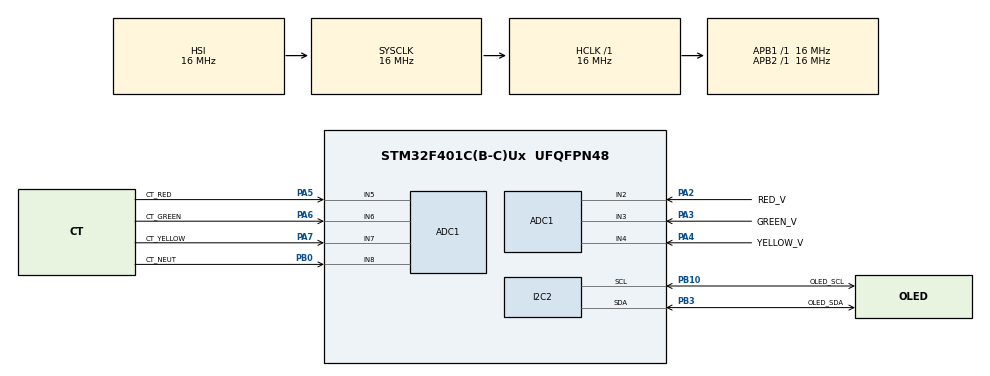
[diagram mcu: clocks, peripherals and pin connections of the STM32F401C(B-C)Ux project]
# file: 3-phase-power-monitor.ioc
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ADC1.Channel-0\#ChannelRegularConversion=ADC_CHANNEL_3
ADC1.ContinuousConvMode=ENABLE
ADC1.NbrOfConversionFlag=1
ADC1.Rank-0\#ChannelRegularConversion=1
ADC1.SamplingTime-0\#ChannelRegularConversion=ADC_SAMPLETIME_3CYCLES
ADC1.ScanConvMode=DISABLE
ADC1.master=1
I2C2.I2C_Mode=I2C_Fast
Mcu.Family=STM32F4
Mcu.Name=STM32F401C(B-C)Ux
Mcu.Package=UFQFPN48
NVIC.PriorityGroup=NVIC_PRIORITYGROUP_4
PA2.GPIO_Label=RED_V
PA2.Signal=ADCx_IN2
PA3.GPIO_Label=GREEN_V
PA3.Signal=ADCx_IN3
PA4.GPIO_Label=YELLOW_V
PA4.Signal=ADCx_IN4
PA5.GPIO_Label=CT_RED
PA5.Signal=ADCx_IN5
PA6.GPIO_Label=CT_GREEN
PA6.Signal=ADCx_IN6
PA7.GPIO_Label=CT_YELLOW
PA7.Signal=ADCx_IN7
PB0.GPIO_Label=CT_NEUT
PB0.Signal=ADCx_IN8
PB10.GPIO_Label=OLED_SCL
PB10.Mode=I2C
PB10.Signal=I2C2_SCL
PB3.GPIO_Label=OLED_SDA
PB3.Mode=I2C
PB3.Signal=I2C2_SDA
ProjectManager.HeapSize=0x200
ProjectManager.StackSize=0x400
ProjectManager.TargetToolchain=STM32CubeIDE
RCC.AHBFreq_Value=16000000
RCC.APB1Freq_Value=16000000
RCC.APB2Freq_Value=16000000
RCC.CortexFreq_Value=16000000
RCC.HSE_VALUE=25000000
RCC.HSI_VALUE=16000000
RCC.LSE_VALUE=32768
RCC.SYSCLKFreq_VALUE=16000000
RCC.VCOOutputFreq_Value=192000000
SH.ADCx_IN2.0=ADC1_IN2,IN2
SH.ADCx_IN3.0=ADC1_IN3,IN3
SH.ADCx_IN4.0=ADC1_IN4,IN4
SH.ADCx_IN5.0=ADC1_IN5,IN5
SH.ADCx_IN6.0=ADC1_IN6,IN6
SH.ADCx_IN7.0=ADC1_IN7,IN7
SH.ADCx_IN8.0=ADC1_IN8,IN8
board=custom

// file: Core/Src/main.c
/* USER CODE BEGIN Header */
/**
  ******************************************************************************
  * @file           : main.c
  * @brief          : Main program body
  ******************************************************************************
  * @attention
  *
  * Copyright (c) 2025 STMicroelectronics.
  * All rights reserved.
  *
  * This software is licensed under terms that can be found in the LICENSE file
  * in the root directory of this software component.
  * If no LICENSE file comes with this software, it is provided AS-IS.
  *
  ******************************************************************************
  */
/* USER CODE END Header */
#include "main.h"

/* USER CODE BEGIN Includes */
#include "ssd1306.h"
#include "math.h"

/* USER CODE END Includes */

ADC_HandleTypeDef hadc1;

I2C_HandleTypeDef hi2c2;

void SystemClock_Config(void);
static void MX_GPIO_Init(void);
static void MX_I2C2_Init(void);
static void MX_ADC1_Init(void);
/* USER CODE BEGIN PFP */

uint32_t readADC_Current(uint32_t CHANNEL);
uint32_t readADC_Voltage(uint32_t CHANNEL);

/* USER CODE END PFP */

/* USER CODE BEGIN 0 */

/**
 * Read current from an ADC channel
 */
uint32_t readADC_Current(uint32_t CHANNEL) {

	ADC_CH_Cfg.Channel = CHANNEL;
	HAL_ADC_ConfigChannel(&hadc1, &ADC_CH_Cfg);

	HAL_ADC_Start(&hadc1);
	HAL_ADC_PollForConversion(&hadc1, HAL_MAX_DELAY);
	return HAL_ADC_GetValue(&hadc1);
}

/**
 * Read voltage from an ADC channel
 */
uint32_t readADC_Voltage(uint32_t CHANNEL) {
	ADC_CH_Cfg.Channel = CHANNEL;
	HAL_ADC_ConfigChannel(&hadc1, &ADC_CH_Cfg);

	HAL_ADC_Start(&hadc1);
	HAL_ADC_PollForConversion(&hadc1, HAL_MAX_DELAY);
	return HAL_ADC_GetValue(&hadc1);
}

/* USER CODE END 0 */

int main(void)
{

  /* MCU Configuration--------------------------------------------------------*/

  /* Reset of all peripherals, Initializes the Flash interface and the Systick. */
  HAL_Init();

  /* Configure the system clock */
  SystemClock_Config();

  /* Initialize all configured peripherals */
  MX_GPIO_Init();
  MX_I2C2_Init();
  MX_ADC1_Init();

  /* USER CODE BEGIN 2 */

  ADC_CH_Cfg.Rank = ADC_REGULAR_RANK_1;
  ADC_CH_Cfg.samplingTime = ADC_SAMPLETIME_1CYCLE_5;

  // INITIALIZE OLED screen
  SSD1306_Init();
  SSD1306_GotoXY(0, 0);
  SSD1306_Puts("3-phase power meter", &Font_11x18, 1);
  SSD1306_UpdateScreen(); // update screen

  /* USER CODE END 2 */

  /* Infinite loop */
  while (1)
  {

    /* USER CODE BEGIN 3 */

	  // read current for each phase
	  char red_curr_buff[7];
	  char green_curr_buff[7];
	  char yellow_curr_buff[7];
	  char neutral_curr_buff[7];

	  uint32_t red_curr = readADC_Current(ADC_CHANNEL_5);
	  uint32_t green_curr = readADC_Current(ADC_CHANNEL_6);
	  uint32_t yellow_curr = readADC_Current(ADC_CHANNEL_7);
	  uint32_t neutral_curr = readADC_Current(ADC_CHANNEL_8);

	  // copy into buffer
	  sprintf(red_curr_buff, "%d", red_curr);
	  sprintf(green_curr_buff, "%d", green_curr);
	  sprintf(yellow_curr_buff, "%d", yellow_curr);
	  sprintf(neutral_curr_buff, "%d", neutral_curr);

	  // read line voltage
	  char red_voltage_buff[7];
	  char green_voltage_buff[7];
	  char yellow_voltage_buff[7];

	  uint32_t red_voltage = readADC_Voltage(ADC_CHANNEL_2);
	  uint32_t green_voltage = readADC_Voltage(ADC_CHANNEL_3);
	  uint32_t yellow_voltage = readADC_Voltage(ADC_CHANNEL_4);

	  // copy into buffer
	  sprintf(red_voltage_buff, "%d", red_voltage);
	  sprintf(green_voltage_buff, "%d", green_voltage);
	  sprintf(yellow_voltage_buff, "%d", yellow_voltage);

	  // calculate the ACTIVE power
	  // get average values - ASSUMING BALANCED SYSTEM
	  uint32_t v_line_votlage_avg = (red_voltage + green_voltage + yellow_voltage) / 3;
	  uint32_t v_line_current_avg = (red_curr + green_curr + yellow_curr + neutral_curr) / 4;

	  char power_buff[7];
	  uint32_t total_power = sqrt(3) * v_line_avg * v_line_current_avg;  // assume power factor
	  sprintf(power_buff, "%d", total_power);

	  /* OLED screen control */

	  // display line voltages
	  // red phase voltage
	  SSD1306_GotoXY(5, 0);
	  SSD1306_Puts("R-Ph(V):", &Font_11x18, 1);
	  SSD1306_GotoXY(15, 5);
	  SSD1306_Puts(red_voltage_buff, &Font_11x18, 1);

	  // green phase voltage
	  SSD1306_GotoXY(5, 0);
	  SSD1306_Puts("G-Ph(V):", &Font_11x18, 1);
	  SSD1306_GotoXY(15, 5);
	  SSD1306_Puts(green_voltage_buff, &Font_11x18, 1);

	  // yellow phase voltage
	  SSD1306_GotoXY(5, 0);
	  SSD1306_Puts("Y-Ph(V):", &Font_11x18, 1);
	  SSD1306_GotoXY(15, 5);
	  SSD1306_Puts(yellow_voltage_buff, &Font_11x18, 1);
	  SSD1306_Clear();

	  HAL_Delay(2000); // TODO: MAKE THIS NON-BLOCKING

	  // display line currents
	  // red phase voltage
	  SSD1306_GotoXY(5, 0);
	  SSD1306_Puts("R-Ph(I):", &Font_11x18, 1);
	  SSD1306_GotoXY(15, 5);
	  SSD1306_Puts(red_curr_buff, &Font_11x18, 1);

	  // green phase voltage
	  SSD1306_GotoXY(5, 0);
	  SSD1306_Puts("G-Ph(I):", &Font_11x18, 1);
	  SSD1306_GotoXY(15, 5);
	  SSD1306_Puts(green_curr_buff, &Font_11x18, 1);

	  // yellow phase voltage
	  SSD1306_GotoXY(5, 0);
	  SSD1306_Puts("Y-Ph(I):", &Font_11x18, 1);
	  SSD1306_GotoXY(15, 5);
	  SSD1306_Puts(yellow_curr_buff, &Font_11x18, 1);
	  SSD1306_Clear();

	  // yellow phase voltage
	  SSD1306_GotoXY(5, 0);
	  SSD1306_Puts("N-Ph(I):", &Font_11x18, 1);
	  SSD1306_GotoXY(15, 5);
	  SSD1306_Puts(neutral_curr_buff, &Font_11x18, 1);
	  SSD1306_Clear();

	  HAL_Delay(2000); // TODO - MAKE THIS NON-BOCKING

	  // display the calculated active power
	  SSD1306_GotoXY(5, 0);
	  SSD1306_Puts("Power:", &Font_11x18, 1);
	  SSD1306_GotoXY(15, 5);
	  SSD1306_Puts(power_buff, &Font_11x18, 1);
	  SSD1306_Clear();

  }
  /* USER CODE END 3 */
}

void SystemClock_Config(void)
{
  RCC_OscInitTypeDef RCC_OscInitStruct = {0};
  RCC_ClkInitTypeDef RCC_ClkInitStruct = {0};

  /** Configure the main internal regulator output voltage
  */
  __HAL_RCC_PWR_CLK_ENABLE();
  __HAL_PWR_VOLTAGESCALING_CONFIG(PWR_REGULATOR_VOLTAGE_SCALE2);

  /** Initializes the RCC Oscillators according to the specified parameters
  * in the RCC_OscInitTypeDef structure.
  */
  RCC_OscInitStruct.OscillatorType = RCC_OSCILLATORTYPE_HSI;
  RCC_OscInitStruct.HSIState = RCC_HSI_ON;
  RCC_OscInitStruct.HSICalibrationValue = RCC_HSICALIBRATION_DEFAULT;
  RCC_OscInitStruct.PLL.PLLState = RCC_PLL_NONE;
  if (HAL_RCC_OscConfig(&RCC_OscInitStruct) != HAL_OK)
  {
    Error_Handler();
  }

  /** Initializes the CPU, AHB and APB buses clocks
  */
  RCC_ClkInitStruct.ClockType = RCC_CLOCKTYPE_HCLK|RCC_CLOCKTYPE_SYSCLK
                              |RCC_CLOCKTYPE_PCLK1|RCC_CLOCKTYPE_PCLK2;
  RCC_ClkInitStruct.SYSCLKSource = RCC_SYSCLKSOURCE_HSI;
  RCC_ClkInitStruct.AHBCLKDivider = RCC_SYSCLK_DIV1;
  RCC_ClkInitStruct.APB1CLKDivider = RCC_HCLK_DIV1;
  RCC_ClkInitStruct.APB2CLKDivider = RCC_HCLK_DIV1;

  if (HAL_RCC_ClockConfig(&RCC_ClkInitStruct, FLASH_LATENCY_0) != HAL_OK)
  {
    Error_Handler();
  }
}

static void MX_ADC1_Init(void)
{

  ADC_ChannelConfTypeDef sConfig = {0};

  /** Configure the global features of the ADC (Clock, Resolution, Data Alignment and number of conversion)
  */
  hadc1.Instance = ADC1;
  hadc1.Init.ClockPrescaler = ADC_CLOCK_SYNC_PCLK_DIV2;
  hadc1.Init.Resolution = ADC_RESOLUTION_12B;
  hadc1.Init.ScanConvMode = DISABLE;
  hadc1.Init.ContinuousConvMode = ENABLE;
  hadc1.Init.DiscontinuousConvMode = DISABLE;
  hadc1.Init.ExternalTrigConvEdge = ADC_EXTERNALTRIGCONVEDGE_NONE;
  hadc1.Init.ExternalTrigConv = ADC_SOFTWARE_START;
  hadc1.Init.DataAlign = ADC_DATAALIGN_RIGHT;
  hadc1.Init.NbrOfConversion = 1;
  hadc1.Init.DMAContinuousRequests = DISABLE;
  hadc1.Init.EOCSelection = ADC_EOC_SINGLE_CONV;
  if (HAL_ADC_Init(&hadc1) != HAL_OK)
  {
    Error_Handler();
  }

  /** Configure for the selected ADC regular channel its corresponding rank in the sequencer and its sample time.
  */
  sConfig.Channel = ADC_CHANNEL_3;
  sConfig.Rank = 1;
  sConfig.SamplingTime = ADC_SAMPLETIME_3CYCLES;
  if (HAL_ADC_ConfigChannel(&hadc1, &sConfig) != HAL_OK)
  {
    Error_Handler();
  }

}

static void MX_I2C2_Init(void)
{

  hi2c2.Instance = I2C2;
  hi2c2.Init.ClockSpeed = 400000;
  hi2c2.Init.DutyCycle = I2C_DUTYCYCLE_2;
  hi2c2.Init.OwnAddress1 = 0;
  hi2c2.Init.AddressingMode = I2C_ADDRESSINGMODE_7BIT;
  hi2c2.Init.DualAddressMode = I2C_DUALADDRESS_DISABLE;
  hi2c2.Init.OwnAddress2 = 0;
  hi2c2.Init.GeneralCallMode = I2C_GENERALCALL_DISABLE;
  hi2c2.Init.NoStretchMode = I2C_NOSTRETCH_DISABLE;
  if (HAL_I2C_Init(&hi2c2) != HAL_OK)
  {
    Error_Handler();
  }

}

static void MX_GPIO_Init(void)
{

  /* GPIO Ports Clock Enable */
  __HAL_RCC_GPIOA_CLK_ENABLE();
  __HAL_RCC_GPIOB_CLK_ENABLE();

}

void Error_Handler(void)
{
  __disable_irq();
  while (1)
  {
  }
}
